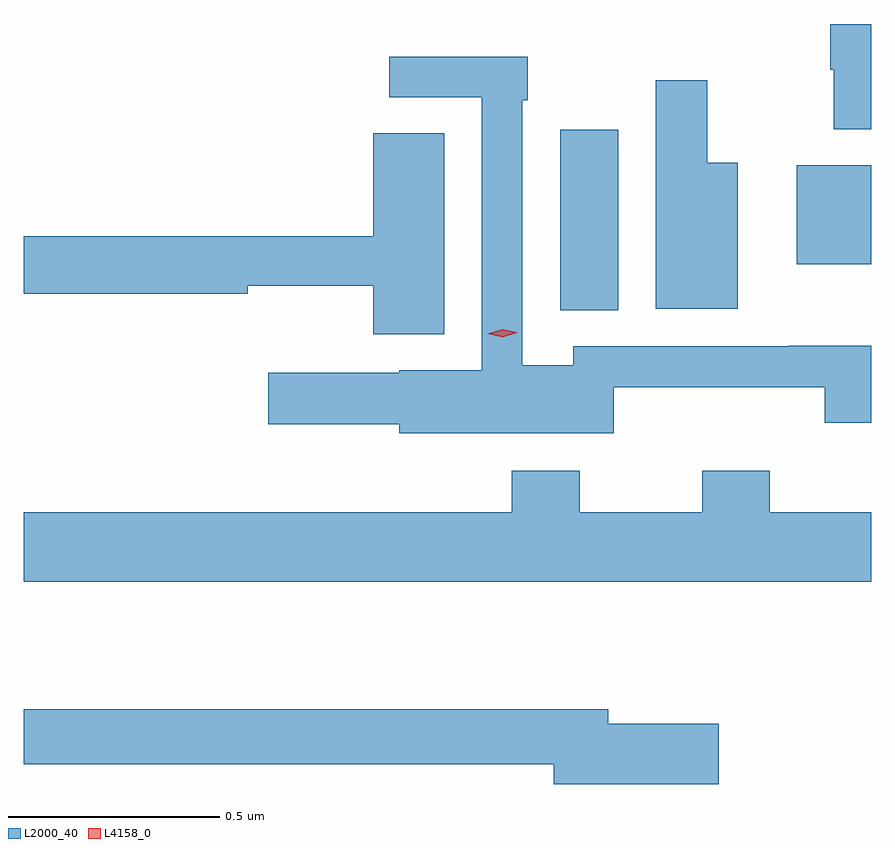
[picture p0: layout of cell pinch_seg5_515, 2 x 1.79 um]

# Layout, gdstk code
import gdstk
lib = gdstk.Library(unit=1e-6, precision=1e-09)
def R(c, l, rs):  # rectangles x0, y0, x1, y1
    for r in rs: c.add(gdstk.rectangle(r[:2], r[2:], *l))
def P(c, l, *ps):  # polygons
    for p in ps: c.add(gdstk.Polygon(p, *l))
L2000_40 = (2000, 40)
L4158_0 = (4158, 0)

pinch_seg5_515 = lib.new_cell('pinch_seg5_515')
R(pinch_seg5_515, L2000_40, [(892.187,841.417,892.324,841.843), (892.745,841.526,892.921,841.759)])
P(pinch_seg5_515, L2000_40, [(892.921,842.093),(892.825,842.093),(892.825,841.985),(892.833,841.985),(892.833,841.845),(892.921,841.845)],
  [(892.314,841.235),(892.811,841.235),(892.811,841.152),(892.921,841.152),(892.921,841.334),(892.727,841.334),(892.727,841.332),(892.218,841.332),(892.218,841.288),(892.098,841.288),(892.098,841.913),(892.111,841.913),(892.111,842.016),(891.783,842.016),(891.783,841.92),(892.002,841.92),(892.002,841.276),(891.807,841.276),(891.807,841.27),(891.498,841.27),(891.498,841.148),(891.807,841.148),(891.807,841.127),(892.314,841.127)],
  [(892.606,841.765),(892.534,841.765),(892.534,841.96),(892.412,841.96),(892.412,841.421),(892.606,841.421)],
  [(891.913,841.835),(891.746,841.835),(891.746,841.592),(890.921,841.592),(890.921,841.456),(891.45,841.456),(891.45,841.475),(891.746,841.475),(891.746,841.361),(891.913,841.361)],
  [(892.921,840.94),(892.682,840.94),(892.682,841.039),(892.522,841.039),(892.522,840.94),(892.233,840.94),(892.233,841.039),(892.073,841.039),(892.073,840.94),(890.921,840.94),(890.921,840.776),(892.921,840.776)],
  [(892.561,840.441),(892.3,840.441),(892.3,840.475),(890.921,840.475),(890.921,840.346),(892.172,840.346),(892.172,840.299),(892.561,840.299)])
P(pinch_seg5_515, L4158_0, [(892.051,841.353),(892.016,841.362),(892.015,841.362),(892.016,841.362),(892.05,841.373),(892.085,841.365),(892.085,841.365),(892.085,841.364)])

lib.write_gds('pinch_seg5_515.gds')
